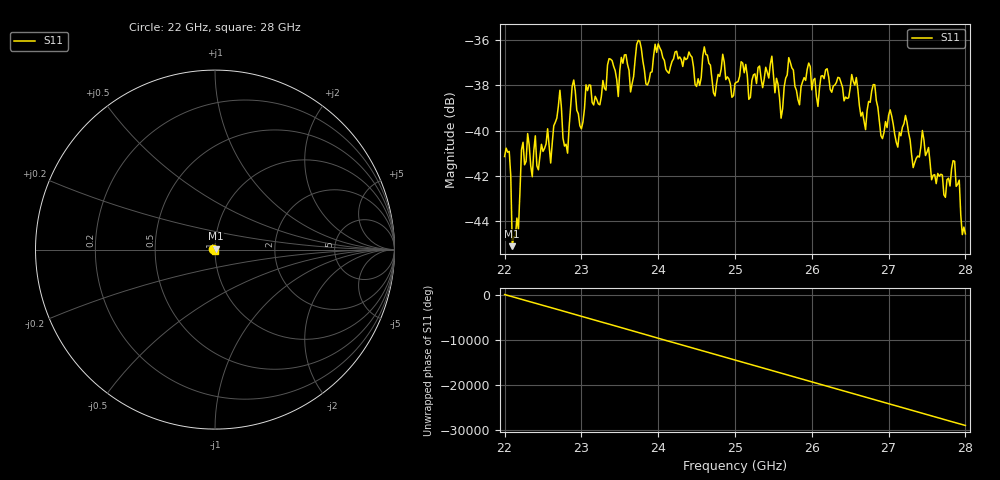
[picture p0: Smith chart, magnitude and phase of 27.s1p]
#  HZ  S  RI  R  50.00
! Rohde & Schwarz ZVA40 4Ports - Version 3.90 - 1145.1110k42 SN: 100403
! Date: 2023-10-04 06:06:03
! Measurement: S12
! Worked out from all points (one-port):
!   301 points, 22 GHz to 28 GHz, reference 50 ohm
!   lowest |S11| = -45.1 dB at 22.1 GHz (marker M1), VSWR 1.01, Z = 50.3 + j0.465 ohm
!   |S11| at or under -10 dB: start of sweep to end of sweep
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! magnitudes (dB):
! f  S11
! 22 GHz  -41.1
! 22.06 GHz  -40.9
! 22.1 GHz  -45.1
! 22.18 GHz  -44.4
! 22.24 GHz  -40.5
! 22.56 GHz  -39.9
! 22.6 GHz  -41.4
! 22.72 GHz  -38.2
! 22.76 GHz  -40.3
! 22.82 GHz  -41.0
! 22.9 GHz  -37.8
! 23 GHz  -39.9
! 23.06 GHz  -38.0
! 23.5 GHz  -37.3
! 24.26 GHz  -36.8
! 25 GHz  -37.9
! 25.48 GHz  -36.7
! 25.6 GHz  -39.4
! 25.76 GHz  -37.3
! 25.84 GHz  -38.9
! 25.96 GHz  -37.0
! 26.08 GHz  -38.9
! 26.2 GHz  -37.3
! 26.5 GHz  -38.1
! 27.26 GHz  -40.1
! 27.74 GHz  -42.9
! 27.86 GHz  -41.4
! 28 GHz  -44.6
